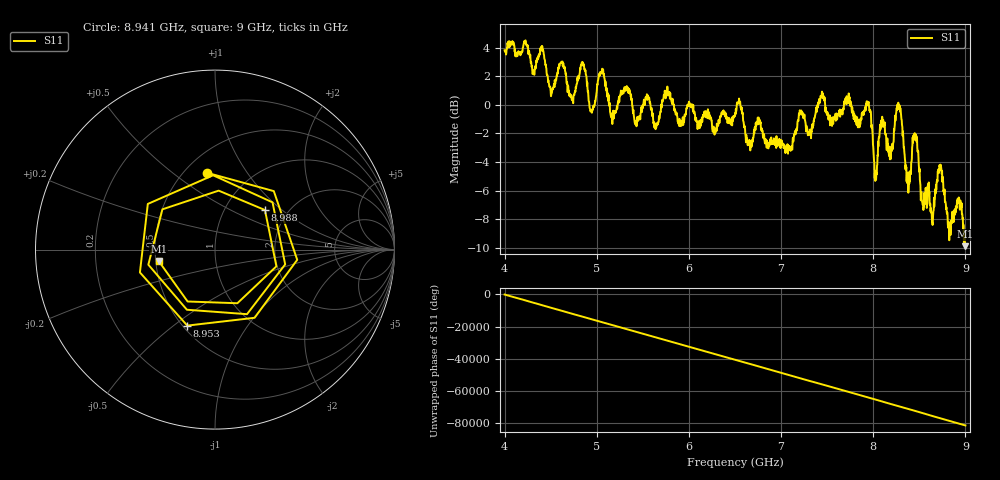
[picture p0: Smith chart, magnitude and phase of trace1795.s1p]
! Created with skrf 1.8.0 (http://scikit-rf.org).
# Hz S RI R 50.0
!freq ReS11 ImS11
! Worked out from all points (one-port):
!   1601 points, 4 GHz to 9 GHz, reference 50 ohm
!   lowest |S11| = -9.9 dB at 9 GHz (marker M1), VSWR 1.94, Z = 25.9 - j3.69 ohm
!   |S11| at or under -10 dB: nowhere
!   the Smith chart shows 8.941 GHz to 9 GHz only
!   S11 on the Smith chart (normalised r, x): 8.941 GHz: 0.64, +0.67; 8.953 GHz: 0.53, -0.56; 8.988 GHz: 1.53, +0.77; 9 GHz: 0.52, -0.07
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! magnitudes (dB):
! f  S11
! 4 GHz  3.8
! 4.403 GHz  4.1
! 4.509 GHz  0.9
! 4.625 GHz  2.9
! 4.725 GHz  0.5
! 4.853 GHz  2.7
! 4.944 GHz  -0.5
! 5.047 GHz  2.2
! 5.169 GHz  -1.3
! 5.25 GHz  0.6
! 5.875 GHz  -0.9
! 6.5 GHz  -0.8
! 7.125 GHz  -2.6
! 7.75 GHz  -0.1
! 7.95 GHz  0.2
! 8.025 GHz  -4.8
! 8.084 GHz  -1.1
! 8.278 GHz  -0.3
! 8.375 GHz  -5.2
! 8.45 GHz  -2.0
! 8.541 GHz  -6.8
! 8.644 GHz  -8.4
! 8.722 GHz  -4.4
! 8.828 GHz  -8.4
! 8.941 GHz  -7.3
! 8.953 GHz  -6.9
! 8.988 GHz  -9.0
! 9 GHz  -9.9
